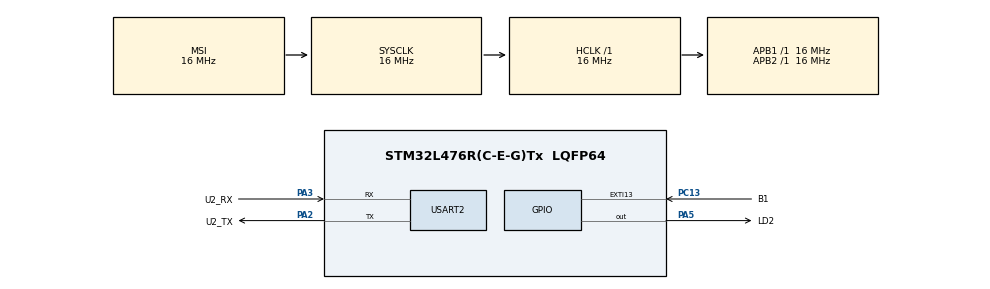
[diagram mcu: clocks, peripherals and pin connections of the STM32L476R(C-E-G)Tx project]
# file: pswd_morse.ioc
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Mcu.Family=STM32L4
Mcu.Name=STM32L476R(C-E-G)Tx
Mcu.Package=LQFP64
NVIC.EXTI15_10_IRQn=true\:0\:0\:false\:false\:true\:true\:true
NVIC.PriorityGroup=NVIC_PRIORITYGROUP_4
NVIC.TIM2_IRQn=true\:0\:0\:false\:false\:true\:true\:true
NVIC.USART2_IRQn=true\:0\:0\:false\:false\:true\:true\:true
PA2.GPIO_Label=U2_TX
PA2.Mode=Asynchronous
PA2.Signal=USART2_TX
PA3.GPIO_Label=U2_RX
PA3.Mode=Asynchronous
PA3.Signal=USART2_RX
PA5.GPIO_Label=LD2
PA5.Signal=GPIO_Output
PC13.GPIO_Label=B1
PC13.GPIO_ModeDefaultEXTI=GPIO_MODE_IT_FALLING
PC13.Signal=GPXTI13
ProjectManager.HeapSize=0x200
ProjectManager.StackSize=0x400
ProjectManager.TargetToolchain=STM32CubeIDE
RCC.ADCFreq_Value=64000000
RCC.AHBFreq_Value=16000000
RCC.APB1Freq_Value=16000000
RCC.APB1TimFreq_Value=16000000
RCC.APB2Freq_Value=16000000
RCC.APB2TimFreq_Value=16000000
RCC.CortexFreq_Value=16000000
RCC.HCLKFreq_Value=16000000
RCC.HSE_VALUE=8000000
RCC.HSI_VALUE=16000000
RCC.LSE_VALUE=32768
RCC.MSIClockRange=RCC_MSIRANGE_8
RCC.MSI_VALUE=16000000
RCC.SYSCLKFreq_VALUE=16000000
RCC.USBFreq_Value=64000000
RCC.VCOOutputFreq_Value=128000000
TIM2.Period=999
TIM2.Prescaler=15
USART2.VirtualMode-Asynchronous=VM_ASYNC
VP_TIM2_VS_ClockSourceINT.Mode=Internal
board=custom

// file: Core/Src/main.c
/* USER CODE BEGIN Header */
/**
 ******************************************************************************
 * @file           : main.c
 * @brief          : Main program body
 ******************************************************************************
 * @attention
 *
 * <h2><center>&copy; Copyright (c) 2020 STMicroelectronics.
 * All rights reserved.</center></h2>
 *
 * This software component is licensed by ST under BSD 3-Clause license,
 * the "License"; You may not use this file except in compliance with the
 * License. You may obtain a copy of the License at:
 *                        opensource.org/licenses/BSD-3-Clause
 *
 ******************************************************************************
 */
/* USER CODE END Header */

#include "main.h"
#include <stdbool.h>

/* USER CODE BEGIN PTD */

typedef enum _fsm_states_ {

	STATE_IDLE,
	STATE_DOT,
	STATE_DASH_1,
	STATE_DASH_2,
	STATE_ACCEPTED,

}fsm_states;

typedef enum _fsm_evts_ {

	EVT_NO_EVT,
	EVT_DOT,
	EVT_DASH,
	EVT_CONFIRM_DOT,
	EVT_CONFIRM_DASH,
	EVT_PRESSED,
	EVT_TIMEOUT,

}fsm_evts;

typedef struct _fsm_ {
	uint16_t count_timeout;
	uint16_t counter_time;
	fsm_states state;
	fsm_evts evt;
	bool new_evt:1;
	bool start_timeout:1;

}fsm_t;

fsm_t fsm = {
		.count_timeout = 0,
		.counter_time = 0,
		.state = STATE_IDLE,
		.evt = EVT_NO_EVT,
		.new_evt = false,
		.start_timeout = false,
};

typedef struct _button_ {
	uint8_t counter;
	bool maybe_pressed;
	bool pressed;

}button_t;

button_t button = {
		.counter = 0,
		.maybe_pressed = false,
		.pressed = false,
};
/* USER CODE END PTD */

/* USER CODE BEGIN PD */
#define DOT_TIME			(	   	 100 		)
#define DASH_TIME			(		 600		)
#define DOT_TIME_ALLOWED 	(	DOT_TIME + 300	)
#define DASH_TIME_ALLOWED	(	DASH_TIME - 300	)
#define TIMEOUT				(		5000		)
/* USER CODE END PD */

TIM_HandleTypeDef htim2;

UART_HandleTypeDef huart2;

void SystemClock_Config(void);
static void MX_GPIO_Init(void);
static void MX_TIM2_Init(void);
static void MX_USART2_UART_Init(void);

/* USER CODE BEGIN 0 */
/**
 * @brief  EXTI line detection callback.
 * @param  GPIO_Pin Specifies the port pin connected to corresponding EXTI line.
 * @retval None
 */
void HAL_GPIO_EXTI_Callback(uint16_t GPIO_Pin)
{
	button.maybe_pressed = true;
}

/**
 * @brief  Period elapsed callback in non-blocking mode each 1mSec
 * @param  htim TIM handle
 * @retval None
 */
void HAL_TIM_PeriodElapsedCallback(TIM_HandleTypeDef *htim)
{
	if (button.maybe_pressed == true) {
		button.counter++;
	}

	if ( button.counter >= 20 ) {
		if ( !(GPIOC->IDR & (1<<13)) ) { /* still pressed */
			button.maybe_pressed = false;
			button.counter = 0;
			button.pressed = true;
			fsm.evt = EVT_PRESSED;
			fsm.new_evt = true;
		} else {
			button.maybe_pressed = false;
			button.pressed = false;
		}
	}

	if( button.pressed == true ) { /* IDK when clear this flag yet!!! */
		if ( !(GPIOC->IDR & (1<<13)) ) { /* Always pressed */
			fsm.counter_time++;
		} else {

			if ( fsm.counter_time >= DOT_TIME && fsm.counter_time <= DOT_TIME_ALLOWED ) {
				button.pressed = false;
				fsm.evt = EVT_CONFIRM_DOT;
				fsm.new_evt = true;
			} else if ( fsm.counter_time >= DASH_TIME_ALLOWED && fsm.counter_time <= DASH_TIME ) {
				button.pressed = false;
				fsm.evt = EVT_CONFIRM_DASH;
				fsm.new_evt = true;
			}

			fsm.counter_time = 0;

		}
	}

	if ( fsm.counter_time == DOT_TIME ) {
		fsm.evt = EVT_DOT;
		fsm.new_evt = true;
	}

	if ( fsm.counter_time == DASH_TIME ) {
		if (fsm.state == STATE_IDLE) {

		} else {
			button.pressed = false;
			fsm.counter_time = 0;
			fsm.evt = EVT_DASH;
			fsm.new_evt = true;
		}
	}

	if ( fsm.start_timeout == true ) {
		fsm.count_timeout++;
	} else {
		fsm.count_timeout = 0;
	}

	if ( fsm.count_timeout >= TIMEOUT ) {
		fsm.count_timeout = 0;
		fsm.evt = EVT_TIMEOUT;
		fsm.new_evt = true;
	}

}

void print_current_state ( fsm_t *fsm ) {
	switch (fsm->state) {
	case STATE_IDLE:
		HAL_UART_Transmit(&huart2, (uint8_t*)"STATE_IDLE\n", sizeof("STATE_IDLE\n")-1, 100);
		break;
	case STATE_DOT:
		HAL_UART_Transmit(&huart2, (uint8_t*)"STATE_DOT\n", sizeof("STATE_DOT\n")-1, 100);
		break;
	case STATE_DASH_1:
		HAL_UART_Transmit(&huart2, (uint8_t*)"STATE_DASH_1\n", sizeof("STATE_DASH_1\n")-1, 100);
		break;
	case STATE_DASH_2:
		HAL_UART_Transmit(&huart2, (uint8_t*)"STATE_DASH_2\n", sizeof("STATE_DASH_2\n")-1, 100);
		break;
	case STATE_ACCEPTED:
		HAL_UART_Transmit(&huart2, (uint8_t*)"STATE_ACCEPTED\n", sizeof("STATE_ACCEPTED\n")-1, 100);
		break;
	default:
		HAL_UART_Transmit(&huart2, (uint8_t*)"ERROR\n", sizeof("ERROR\n")-1, 100);
		break;
	}
}

/**
 * @brief  Execute password's fsm
 * @param  fsm FSM handle
 * @retval None
 */
void fsm_run ( fsm_t *fsm ) {
	if ( fsm->new_evt == true ) {
		fsm->new_evt = false;
		switch ( fsm->state ) {
		case STATE_IDLE:	/* DOT */
			if ( fsm->evt == EVT_DOT ) {
				fsm->state= STATE_IDLE;
			} else if ( fsm->evt == EVT_DASH ) {
				fsm->state= STATE_IDLE;
			} else if ( fsm->evt == EVT_CONFIRM_DOT ) {
				fsm->start_timeout = true; /**/
				fsm->state= STATE_DOT;
			}
			print_current_state(fsm);
			break;

		case STATE_DOT:		/* DASH */
			if ( fsm->evt == EVT_DASH || fsm->evt == EVT_CONFIRM_DASH ) {
				fsm->count_timeout = 0;
				fsm->start_timeout = true; /**/
				fsm->state= STATE_DASH_1;
			} else if ( fsm->evt == EVT_CONFIRM_DOT || fsm->evt == EVT_TIMEOUT ) {
				fsm->start_timeout = false; /**/
				fsm->state= STATE_IDLE;
			}
			print_current_state(fsm);
			break;

		case STATE_DASH_1:	/* DASH */
			if ( fsm->evt == EVT_DASH || fsm->evt == EVT_CONFIRM_DASH ) {
				fsm->count_timeout = 0;
				fsm->start_timeout = true; /**/
				fsm->state= STATE_DASH_2;
			} else if ( fsm->evt == EVT_CONFIRM_DOT || fsm->evt == EVT_TIMEOUT ) {
				fsm->start_timeout = false; /**/
				fsm->state= STATE_IDLE;
			}
			print_current_state(fsm);
			break;

		case STATE_DASH_2: /* DASH */
			if ( fsm->evt == EVT_DASH || fsm->evt == EVT_CONFIRM_DASH ) {
				fsm->count_timeout = 0;
				fsm->start_timeout = true; /**/
				HAL_GPIO_WritePin(LD2_GPIO_Port, LD2_Pin, 1);
				fsm->state = STATE_ACCEPTED;
			} else if ( fsm->evt == EVT_CONFIRM_DOT || fsm->evt == EVT_TIMEOUT ) {
				fsm->start_timeout = false; /**/
				fsm->state = STATE_IDLE;
			}
			print_current_state(fsm);
			break;

		case STATE_ACCEPTED:
			if ( fsm->evt == EVT_PRESSED ) {
				HAL_GPIO_WritePin(LD2_GPIO_Port, LD2_Pin, 0);
				fsm->state = STATE_IDLE;
				print_current_state(fsm);
			}
			break;

		default: /* ERROR */
			HAL_GPIO_WritePin(LD2_GPIO_Port, LD2_Pin, 1);
			while(1);
			break;
		}
	}
}
/* USER CODE END 0 */

int main(void)
{

	/* MCU Configuration--------------------------------------------------------*/

	/* Reset of all peripherals, Initializes the Flash interface and the Systick. */
	HAL_Init();

	/* Configure the system clock */
	SystemClock_Config();

	/* Initialize all configured peripherals */
	MX_GPIO_Init();
	MX_TIM2_Init();
	MX_USART2_UART_Init();
	/* USER CODE BEGIN 2 */
	HAL_TIM_Base_Start_IT(&htim2);
	print_current_state(&fsm);
	/* USER CODE END 2 */

	/* Infinite loop */
	/* USER CODE BEGIN WHILE */
	while (1)
	{
		fsm_run(&fsm);
		/* USER CODE END WHILE */

	}
}

void SystemClock_Config(void)
{
	RCC_OscInitTypeDef RCC_OscInitStruct = {0};
	RCC_ClkInitTypeDef RCC_ClkInitStruct = {0};
	RCC_PeriphCLKInitTypeDef PeriphClkInit = {0};

	/** Initializes the CPU, AHB and APB busses clocks
	 */
	RCC_OscInitStruct.OscillatorType = RCC_OSCILLATORTYPE_MSI;
	RCC_OscInitStruct.MSIState = RCC_MSI_ON;
	RCC_OscInitStruct.MSICalibrationValue = 0;
	RCC_OscInitStruct.MSIClockRange = RCC_MSIRANGE_8;
	RCC_OscInitStruct.PLL.PLLState = RCC_PLL_NONE;
	if (HAL_RCC_OscConfig(&RCC_OscInitStruct) != HAL_OK)
	{
		Error_Handler();
	}
	/** Initializes the CPU, AHB and APB busses clocks
	 */
	RCC_ClkInitStruct.ClockType = RCC_CLOCKTYPE_HCLK|RCC_CLOCKTYPE_SYSCLK
			|RCC_CLOCKTYPE_PCLK1|RCC_CLOCKTYPE_PCLK2;
	RCC_ClkInitStruct.SYSCLKSource = RCC_SYSCLKSOURCE_MSI;
	RCC_ClkInitStruct.AHBCLKDivider = RCC_SYSCLK_DIV1;
	RCC_ClkInitStruct.APB1CLKDivider = RCC_HCLK_DIV1;
	RCC_ClkInitStruct.APB2CLKDivider = RCC_HCLK_DIV1;

	if (HAL_RCC_ClockConfig(&RCC_ClkInitStruct, FLASH_LATENCY_0) != HAL_OK)
	{
		Error_Handler();
	}
	PeriphClkInit.PeriphClockSelection = RCC_PERIPHCLK_USART2;
	PeriphClkInit.Usart2ClockSelection = RCC_USART2CLKSOURCE_PCLK1;
	if (HAL_RCCEx_PeriphCLKConfig(&PeriphClkInit) != HAL_OK)
	{
		Error_Handler();
	}
	/** Configure the main internal regulator output voltage
	 */
	if (HAL_PWREx_ControlVoltageScaling(PWR_REGULATOR_VOLTAGE_SCALE1) != HAL_OK)
	{
		Error_Handler();
	}
}

static void MX_TIM2_Init(void)
{

	TIM_ClockConfigTypeDef sClockSourceConfig = {0};
	TIM_MasterConfigTypeDef sMasterConfig = {0};

	htim2.Instance = TIM2;
	htim2.Init.Prescaler = 15;
	htim2.Init.CounterMode = TIM_COUNTERMODE_UP;
	htim2.Init.Period = 999;
	htim2.Init.ClockDivision = TIM_CLOCKDIVISION_DIV1;
	htim2.Init.AutoReloadPreload = TIM_AUTORELOAD_PRELOAD_DISABLE;
	if (HAL_TIM_Base_Init(&htim2) != HAL_OK)
	{
		Error_Handler();
	}
	sClockSourceConfig.ClockSource = TIM_CLOCKSOURCE_INTERNAL;
	if (HAL_TIM_ConfigClockSource(&htim2, &sClockSourceConfig) != HAL_OK)
	{
		Error_Handler();
	}
	sMasterConfig.MasterOutputTrigger = TIM_TRGO_RESET;
	sMasterConfig.MasterSlaveMode = TIM_MASTERSLAVEMODE_DISABLE;
	if (HAL_TIMEx_MasterConfigSynchronization(&htim2, &sMasterConfig) != HAL_OK)
	{
		Error_Handler();
	}

}

static void MX_USART2_UART_Init(void)
{

	huart2.Instance = USART2;
	huart2.Init.BaudRate = 115200;
	huart2.Init.WordLength = UART_WORDLENGTH_8B;
	huart2.Init.StopBits = UART_STOPBITS_1;
	huart2.Init.Parity = UART_PARITY_NONE;
	huart2.Init.Mode = UART_MODE_TX_RX;
	huart2.Init.HwFlowCtl = UART_HWCONTROL_NONE;
	huart2.Init.OverSampling = UART_OVERSAMPLING_16;
	huart2.Init.OneBitSampling = UART_ONE_BIT_SAMPLE_DISABLE;
	huart2.AdvancedInit.AdvFeatureInit = UART_ADVFEATURE_NO_INIT;
	if (HAL_UART_Init(&huart2) != HAL_OK)
	{
		Error_Handler();
	}

}

static void MX_GPIO_Init(void)
{
	GPIO_InitTypeDef GPIO_InitStruct = {0};

	/* GPIO Ports Clock Enable */
	__HAL_RCC_GPIOC_CLK_ENABLE();
	__HAL_RCC_GPIOA_CLK_ENABLE();

	/*Configure GPIO pin Output Level */
	HAL_GPIO_WritePin(LD2_GPIO_Port, LD2_Pin, GPIO_PIN_RESET);

	/*Configure GPIO pin : B1_Pin */
	GPIO_InitStruct.Pin = B1_Pin;
	GPIO_InitStruct.Mode = GPIO_MODE_IT_FALLING;
	GPIO_InitStruct.Pull = GPIO_NOPULL;
	HAL_GPIO_Init(B1_GPIO_Port, &GPIO_InitStruct);

	/*Configure GPIO pin : LD2_Pin */
	GPIO_InitStruct.Pin = LD2_Pin;
	GPIO_InitStruct.Mode = GPIO_MODE_OUTPUT_PP;
	GPIO_InitStruct.Pull = GPIO_NOPULL;
	GPIO_InitStruct.Speed = GPIO_SPEED_FREQ_LOW;
	HAL_GPIO_Init(LD2_GPIO_Port, &GPIO_InitStruct);

	/* EXTI interrupt init*/
	HAL_NVIC_SetPriority(EXTI15_10_IRQn, 0, 0);
	HAL_NVIC_EnableIRQ(EXTI15_10_IRQn);

}

void Error_Handler(void)
{
}

/************************ (C) COPYRIGHT STMicroelectronics *****END OF FILE****/
